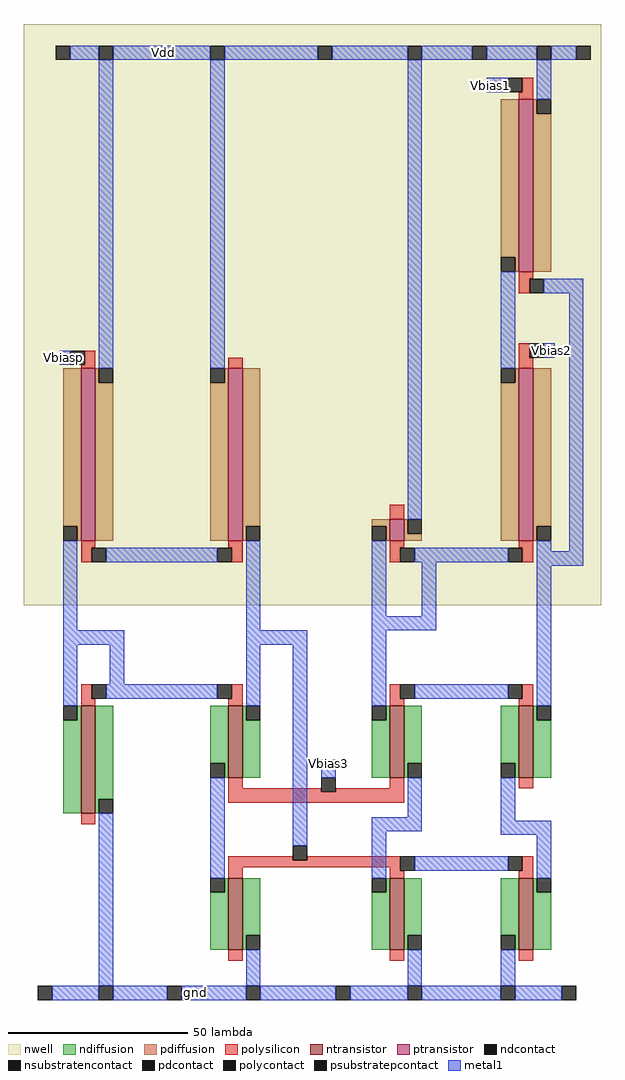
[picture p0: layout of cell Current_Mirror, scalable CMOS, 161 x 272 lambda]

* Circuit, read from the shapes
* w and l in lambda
.subckt Current_Mirror Vbias1 Vbias2 Vbias3 Vbiasp Vdd gnd
M1 gnd Vbias3 Vbias3 gnd nfet w=30 l=4
M2 gnd n1 n2 gnd nfet w=20 l=4
M3 n1 Vbias3 n2 gnd nfet w=20 l=4
M4 gnd n1 n3 gnd nfet w=20 l=4
M5 n3 Vbias3 Vbias2 gnd nfet w=20 l=4
M6 n4 n1 gnd gnd nfet w=20 l=4
M7 Vbias1 Vbias3 n4 gnd nfet w=20 l=4
M8 Vdd Vbiasp Vbias3 Vdd pfet w=48 l=4
M9 n1 Vbiasp Vdd Vdd pfet w=48 l=4
M10 Vdd Vbias2 Vbias2 Vdd pfet w=6 l=4
M11 Vbias1 Vbias2 n5 Vdd pfet w=48 l=4
M12 Vdd Vbias1 n5 Vdd pfet w=48 l=4
.ends

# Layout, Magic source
magic
tech scmos
<< nwell >>
rect -248 -80 -87 82
<< polysilicon >>
rect -109 63 -106 67
rect -110 61 -106 63
rect -110 11 -106 13
rect -110 7 -107 11
rect -231 -13 -228 -9
rect -110 -11 -107 -7
rect -232 -14 -228 -13
rect -191 -14 -187 -11
rect -110 -14 -106 -11
rect -146 -56 -142 -52
rect -232 -64 -228 -62
rect -191 -64 -187 -62
rect -232 -68 -229 -64
rect -190 -68 -187 -64
rect -146 -64 -142 -62
rect -110 -64 -106 -62
rect -146 -68 -143 -64
rect -109 -68 -106 -64
rect -232 -106 -229 -102
rect -190 -106 -187 -102
rect -232 -108 -228 -106
rect -191 -108 -187 -106
rect -146 -106 -143 -102
rect -109 -106 -106 -102
rect -146 -108 -142 -106
rect -110 -108 -106 -106
rect -191 -131 -187 -128
rect -191 -132 -165 -131
rect -146 -131 -142 -128
rect -110 -131 -106 -128
rect -161 -132 -142 -131
rect -191 -135 -142 -132
rect -232 -141 -228 -138
rect -191 -151 -173 -150
rect -169 -151 -143 -150
rect -191 -153 -143 -151
rect -191 -156 -187 -153
rect -146 -154 -143 -153
rect -109 -154 -106 -150
rect -146 -156 -142 -154
rect -110 -156 -106 -154
rect -191 -179 -187 -176
rect -146 -179 -142 -176
rect -110 -179 -106 -176
<< ndiffusion >>
rect -233 -112 -232 -108
rect -237 -138 -232 -112
rect -228 -134 -223 -108
rect -196 -124 -191 -108
rect -192 -128 -191 -124
rect -187 -112 -186 -108
rect -187 -128 -182 -112
rect -147 -112 -146 -108
rect -151 -128 -146 -112
rect -142 -124 -137 -108
rect -142 -128 -141 -124
rect -115 -124 -110 -108
rect -111 -128 -110 -124
rect -106 -112 -105 -108
rect -106 -128 -101 -112
rect -228 -138 -227 -134
rect -192 -160 -191 -156
rect -196 -176 -191 -160
rect -187 -172 -182 -156
rect -187 -176 -186 -172
rect -147 -160 -146 -156
rect -151 -176 -146 -160
rect -142 -172 -137 -156
rect -142 -176 -141 -172
rect -115 -172 -110 -156
rect -111 -176 -110 -172
rect -106 -160 -105 -156
rect -106 -176 -101 -160
<< pdiffusion >>
rect -115 17 -110 61
rect -111 13 -110 17
rect -106 57 -105 61
rect -106 13 -101 57
rect -237 -58 -232 -14
rect -233 -62 -232 -58
rect -228 -18 -227 -14
rect -228 -62 -223 -18
rect -192 -18 -191 -14
rect -196 -62 -191 -18
rect -187 -58 -182 -14
rect -111 -18 -110 -14
rect -187 -62 -186 -58
rect -151 -58 -146 -56
rect -147 -62 -146 -58
rect -142 -60 -141 -56
rect -142 -62 -137 -60
rect -115 -62 -110 -18
rect -106 -58 -101 -14
rect -106 -62 -105 -58
<< metal1 >>
rect -235 72 -227 76
rect -223 72 -196 76
rect -192 72 -166 76
rect -162 72 -141 76
rect -137 72 -123 76
rect -119 72 -105 76
rect -101 72 -94 76
rect -238 -13 -235 -9
rect -227 -14 -223 72
rect -196 -14 -192 72
rect -141 -56 -137 72
rect -119 63 -113 67
rect -105 61 -101 72
rect -115 -14 -111 13
rect -103 7 -92 11
rect -103 -11 -100 -7
rect -237 -87 -233 -62
rect -225 -68 -194 -64
rect -186 -87 -182 -62
rect -151 -83 -147 -62
rect -139 -68 -113 -64
rect -105 -65 -101 -62
rect -96 -65 -92 7
rect -137 -83 -133 -68
rect -151 -87 -133 -83
rect -105 -69 -92 -65
rect -237 -91 -220 -87
rect -237 -108 -233 -91
rect -224 -102 -220 -91
rect -186 -91 -169 -87
rect -225 -106 -194 -102
rect -186 -108 -182 -91
rect -227 -186 -223 -138
rect -196 -156 -192 -128
rect -173 -147 -169 -91
rect -151 -108 -147 -87
rect -139 -106 -113 -102
rect -105 -108 -101 -69
rect -165 -128 -161 -123
rect -141 -139 -137 -128
rect -151 -143 -137 -139
rect -115 -140 -111 -128
rect -151 -156 -147 -143
rect -115 -144 -101 -140
rect -139 -154 -113 -150
rect -105 -156 -101 -144
rect -186 -186 -182 -176
rect -141 -186 -137 -176
rect -115 -186 -111 -176
rect -240 -190 -227 -186
rect -223 -190 -208 -186
rect -204 -190 -186 -186
rect -182 -190 -161 -186
rect -157 -190 -141 -186
rect -137 -190 -115 -186
rect -111 -190 -98 -186
<< ntransistor >>
rect -232 -138 -228 -108
rect -191 -128 -187 -108
rect -146 -128 -142 -108
rect -110 -128 -106 -108
rect -191 -176 -187 -156
rect -146 -176 -142 -156
rect -110 -176 -106 -156
<< ptransistor >>
rect -110 13 -106 61
rect -232 -62 -228 -14
rect -191 -62 -187 -14
rect -146 -62 -142 -56
rect -110 -62 -106 -14
<< polycontact >>
rect -113 63 -109 67
rect -107 7 -103 11
rect -235 -13 -231 -9
rect -107 -11 -103 -7
rect -229 -68 -225 -64
rect -194 -68 -190 -64
rect -143 -68 -139 -64
rect -113 -68 -109 -64
rect -229 -106 -225 -102
rect -194 -106 -190 -102
rect -143 -106 -139 -102
rect -113 -106 -109 -102
rect -165 -132 -161 -128
rect -173 -151 -169 -147
rect -143 -154 -139 -150
rect -113 -154 -109 -150
<< ndcontact >>
rect -237 -112 -233 -108
rect -196 -128 -192 -124
rect -186 -112 -182 -108
rect -151 -112 -147 -108
rect -141 -128 -137 -124
rect -115 -128 -111 -124
rect -105 -112 -101 -108
rect -227 -138 -223 -134
rect -196 -160 -192 -156
rect -186 -176 -182 -172
rect -151 -160 -147 -156
rect -141 -176 -137 -172
rect -115 -176 -111 -172
rect -105 -160 -101 -156
<< pdcontact >>
rect -115 13 -111 17
rect -105 57 -101 61
rect -237 -62 -233 -58
rect -227 -18 -223 -14
rect -196 -18 -192 -14
rect -115 -18 -111 -14
rect -186 -62 -182 -58
rect -151 -62 -147 -58
rect -141 -60 -137 -56
rect -105 -62 -101 -58
<< psubstratepcontact >>
rect -244 -190 -240 -186
rect -227 -190 -223 -186
rect -208 -190 -204 -186
rect -186 -190 -182 -186
rect -161 -190 -157 -186
rect -141 -190 -137 -186
rect -115 -190 -111 -186
rect -98 -190 -94 -186
<< nsubstratencontact >>
rect -239 72 -235 76
rect -227 72 -223 76
rect -196 72 -192 76
rect -166 72 -162 76
rect -141 72 -137 76
rect -123 72 -119 76
rect -105 72 -101 76
rect -94 72 -90 76
<< labels >>
rlabel metal1 -163 -124 -163 -124 1 Vbias3
rlabel metal1 -237 -11 -237 -11 1 Vbiasp
rlabel metal1 -209 74 -209 74 1 Vdd
rlabel metal1 -200 -188 -200 -188 1 gnd
rlabel metal1 -101 -9 -101 -9 1 Vbias2
rlabel metal1 -118 65 -118 65 1 Vbias1
<< end >>
